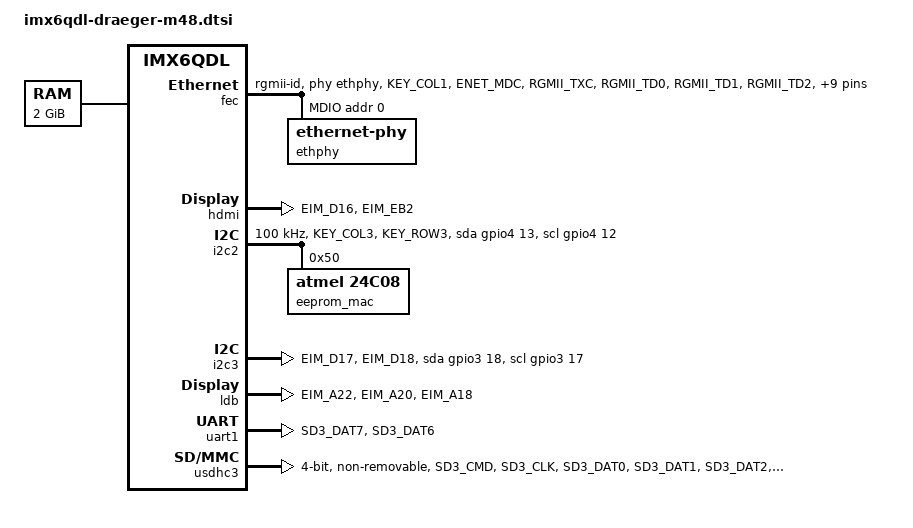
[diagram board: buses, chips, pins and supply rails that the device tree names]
// SPDX-License-Identifier: GPL-2.0+
/*
 * (C) Copyright 2020 Draeger and Licensors, info@draeger.com
 * Based on work by Russell King
 *
 * Device Tree file for Draeger M48 Board
 */

#include <dt-bindings/gpio/gpio.h>

/ {
	aliases {
		mmc0 = &usdhc3;
	};

	chosen {
		stdout-path = &uart1;
	};

	/* Will be filled by the bootloader */
	memory@10000000 {
		device_type = "memory";
		reg = <0x10000000 0x80000000>;
	};
};

&fec {
	pinctrl-names = "default";
	pinctrl-0 = <&pinctrl_enet>;
	phy-mode = "rgmii-id";
	phy-handle = <&ethphy>;
	status = "okay";

	mdio {
		#address-cells = <1>;
		#size-cells = <0>;

		ethphy: ethernet-phy@0 {
			reg = <0>;
			rxc-skew-ps = <1380>;
			rxd0-skew-ps = <0>;
			rxd1-skew-ps = <0>;
			rxd2-skew-ps = <0>;
			rxd3-skew-ps = <0>;
			rxdv-skew-ps = <0>;
			txc-skew-ps = <1860>;
			txd0-skew-ps = <0>;
			txd1-skew-ps = <0>;
			txd2-skew-ps = <0>;
			txd3-skew-ps = <0>;
			txen-skew-ps = <0>;
		};
	};
};

&hdmi {
	pinctrl-names = "default";
	pinctrl-0 = <&pinctrl_hdmi>;
	status = "okay";
};

&i2c2 {
	clock-frequency = <100000>;
	pinctrl-names = "default", "gpio";
	pinctrl-0 = <&pinctrl_i2c2>;
	pinctrl-1 = <&pinctrl_i2c2_gpio>;
	scl-gpios = <&gpio4 12 (GPIO_ACTIVE_HIGH | GPIO_OPEN_DRAIN)>;
	sda-gpios = <&gpio4 13 (GPIO_ACTIVE_HIGH | GPIO_OPEN_DRAIN)>;
	status = "okay";

	eeprom_mac: eeprom@50 {
		compatible = "atmel,24c08";
		reg = <0x50>;
		pagesize = <16>;
	};
};

&i2c3 {
	pinctrl-names = "default", "gpio";
	pinctrl-0 = <&pinctrl_i2c3>;
	pinctrl-1 = <&pinctrl_i2c3_gpio>;
	scl-gpios = <&gpio3 17 (GPIO_ACTIVE_HIGH | GPIO_OPEN_DRAIN)>;
	sda-gpios = <&gpio3 18 (GPIO_ACTIVE_HIGH | GPIO_OPEN_DRAIN)>;
	status = "okay";
};

&ldb {
	pinctrl-names = "default";
	pinctrl-0 = <&pinctrl_lvds>;
	fsl,dual-channel;
	status = "okay";

	lvds-channel@0 {
		fsl,data-mapping = "spwg";
		fsl,data-width = <24>;
		status = "okay";

		display-timings {
			native-mode = <&timing0>;

			/* LVDS split mode */
			timing0: timing-1920x1080 {
				clock-frequency = <142380000>;
				hactive = <1920>;
				vactive = <1080>;
				hback-porch = <60>;		/* left * 2 */
				hfront-porch = <60>;		/* right * 2 */
				vback-porch = <30>;
				vfront-porch = <3>;
				hsync-len = <60>;		/* hsync * 2 */
				vsync-len = <17>;
			};
		};
	};
};

&uart1 {
	pinctrl-names = "default";
	pinctrl-0 = <&pinctrl_uart1>;
	status = "okay";
};

&usdhc3 {
	pinctrl-names = "default";
	pinctrl-0 = <&pinctrl_usdhc3>;
	bus-width = <4>;
	non-removable;
	status = "okay";
};

&iomuxc {
	pinctrl_enet: enetgrp {
		fsl,pins = <
			MX6QDL_PAD_KEY_COL1__ENET_MDIO		0x1b0b0
			MX6QDL_PAD_ENET_MDC__ENET_MDC		0x1b0b0
			MX6QDL_PAD_RGMII_TXC__RGMII_TXC		0x13018
			MX6QDL_PAD_RGMII_TD0__RGMII_TD0		0x1b018
			MX6QDL_PAD_RGMII_TD1__RGMII_TD1		0x1b018
			MX6QDL_PAD_RGMII_TD2__RGMII_TD2		0x1b018
			MX6QDL_PAD_RGMII_TD3__RGMII_TD3		0x1b018
			MX6QDL_PAD_RGMII_TX_CTL__RGMII_TX_CTL	0x13018
			MX6QDL_PAD_ENET_REF_CLK__ENET_TX_CLK	0x1b0b0
			MX6QDL_PAD_RGMII_RXC__RGMII_RXC		0x13030
			MX6QDL_PAD_RGMII_RD0__RGMII_RD0		0x1b030
			MX6QDL_PAD_RGMII_RD1__RGMII_RD1		0x1b030
			MX6QDL_PAD_RGMII_RD2__RGMII_RD2		0x1b030
			MX6QDL_PAD_RGMII_RD3__RGMII_RD3		0x1b030
			MX6QDL_PAD_RGMII_RX_CTL__RGMII_RX_CTL	0x13030
		>;
	};

	pinctrl_hdmi: hdmigrp {
		fsl,pins = <
			MX6QDL_PAD_EIM_D16__HDMI_TX_DDC_SDA	0x4001b8b1
			MX6QDL_PAD_EIM_EB2__HDMI_TX_DDC_SCL	0x4001b8b1
		>;
	};

	pinctrl_i2c2: i2c2grp {
		fsl,pins = <
			MX6QDL_PAD_KEY_COL3__I2C2_SCL		0x4001b820
			MX6QDL_PAD_KEY_ROW3__I2C2_SDA		0x4001b820
		>;
	};

	pinctrl_i2c2_gpio: i2c2gpiogrp {
		fsl,pins = <
			MX6QDL_PAD_KEY_COL3__GPIO4_IO12		0x4001b820
			MX6QDL_PAD_KEY_ROW3__GPIO4_IO13		0x4001b820
		>;
	};

	pinctrl_i2c3: i2c3grp {
		fsl,pins = <
			MX6QDL_PAD_EIM_D17__I2C3_SCL		0x4001b820
			MX6QDL_PAD_EIM_D18__I2C3_SDA		0x4001b820
		>;
	};

	pinctrl_i2c3_gpio: i2c3gpiogrp {
		fsl,pins = <
			MX6QDL_PAD_EIM_D17__GPIO3_IO17		0x4001b820
			MX6QDL_PAD_EIM_D18__GPIO3_IO18		0x4001b820
		>;
	};

	pinctrl_lvds: lvdsgrp {
		fsl,pins = <
			MX6QDL_PAD_EIM_A22__GPIO2_IO16		0x1b010	/* DISPLAY_EN */
			MX6QDL_PAD_EIM_A20__GPIO2_IO18		0x1b010	/* BACKLIGHT_EN */
			MX6QDL_PAD_EIM_A18__GPIO2_IO20		0x1b010	/* DISP0_CONTRAST */
		>;
	};

	pinctrl_uart1: uart1grp {
		fsl,pins = <
			MX6QDL_PAD_SD3_DAT7__UART1_TX_DATA	0x1b010
			MX6QDL_PAD_SD3_DAT6__UART1_RX_DATA	0x1b010
		>;
	};

	pinctrl_usdhc3: usdhc3grp {
		fsl,pins = <
			MX6QDL_PAD_SD3_CMD__SD3_CMD		0x1b060
			MX6QDL_PAD_SD3_CLK__SD3_CLK		0x1b060
			MX6QDL_PAD_SD3_DAT0__SD3_DATA0		0x1b060
			MX6QDL_PAD_SD3_DAT1__SD3_DATA1		0x1b060
			MX6QDL_PAD_SD3_DAT2__SD3_DATA2		0x1b060
			MX6QDL_PAD_SD3_DAT3__SD3_DATA3		0x1b060
			MX6QDL_PAD_NANDF_CS1__SD3_VSELECT	0x1b060
		>;
	};
};
